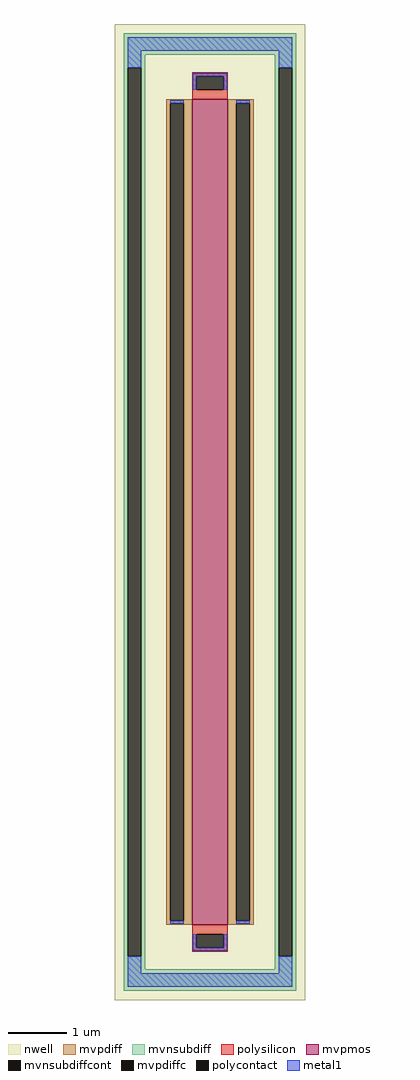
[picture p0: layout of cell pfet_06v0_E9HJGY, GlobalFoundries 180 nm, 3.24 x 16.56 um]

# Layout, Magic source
magic
tech gf180mcuD
magscale 1 10
<< nwell >>
rect -324 -1656 324 1656
<< mvpmos >>
rect -60 -1400 60 1400
<< mvpdiff >>
rect -148 1387 -60 1400
rect -148 -1387 -135 1387
rect -89 -1387 -60 1387
rect -148 -1400 -60 -1387
rect 60 1387 148 1400
rect 60 -1387 89 1387
rect 135 -1387 148 1387
rect 60 -1400 148 -1387
<< mvpdiffc >>
rect -135 -1387 -89 1387
rect 89 -1387 135 1387
<< mvnsubdiff >>
rect -292 1552 292 1624
rect -292 1508 -220 1552
rect -292 -1508 -279 1508
rect -233 -1508 -220 1508
rect 220 1508 292 1552
rect -292 -1552 -220 -1508
rect 220 -1508 233 1508
rect 279 -1508 292 1508
rect 220 -1552 292 -1508
rect -292 -1624 292 -1552
<< mvnsubdiffcont >>
rect -279 -1508 -233 1508
rect 233 -1508 279 1508
<< polysilicon >>
rect -60 1479 60 1492
rect -60 1433 -47 1479
rect 47 1433 60 1479
rect -60 1400 60 1433
rect -60 -1433 60 -1400
rect -60 -1479 -47 -1433
rect 47 -1479 60 -1433
rect -60 -1492 60 -1479
<< polycontact >>
rect -47 1433 47 1479
rect -47 -1479 47 -1433
<< metal1 >>
rect -279 1565 279 1611
rect -279 1508 -233 1565
rect 233 1508 279 1565
rect -58 1479 58 1489
rect -58 1433 -47 1479
rect 47 1433 58 1479
rect -135 1387 -89 1398
rect -135 -1398 -89 -1387
rect 89 1387 135 1398
rect 89 -1398 135 -1387
rect -58 -1479 -47 -1433
rect 47 -1479 58 -1433
rect -58 -1489 58 -1479
rect -279 -1565 -233 -1508
rect 233 -1565 279 -1508
rect -279 -1611 279 -1565
<< properties >>
string FIXED_BBOX -256 -1588 256 1588
string gencell pfet_06v0
string library gf180mcu
string parameters w 14.0 l 0.6 m 1 nf 1 diffcov 100 polycov 100 guard 1 glc 1 grc 1 gtc 0 gbc 0 tbcov 100 rlcov 100 topc 1 botc 1 poverlap 0 doverlap 1 lmin 0.5 wmin 0.3 class mosfet full_metal 1 compatible {pfet_03v3 pfet_06v0} ad {int((nf+1)/2) * W/nf * 0.18u} as {int((nf+2)/2) * W/nf * 0.18u} pd {2*int((nf+1)/2) * (W/nf + 0.18u)} ps {2*int((nf+2)/2) * (W/nf + 0.18u)} nrd {0.18u / W} nrs {0.18u / W} sa 0 sb 0 sd 0
<< end >>
